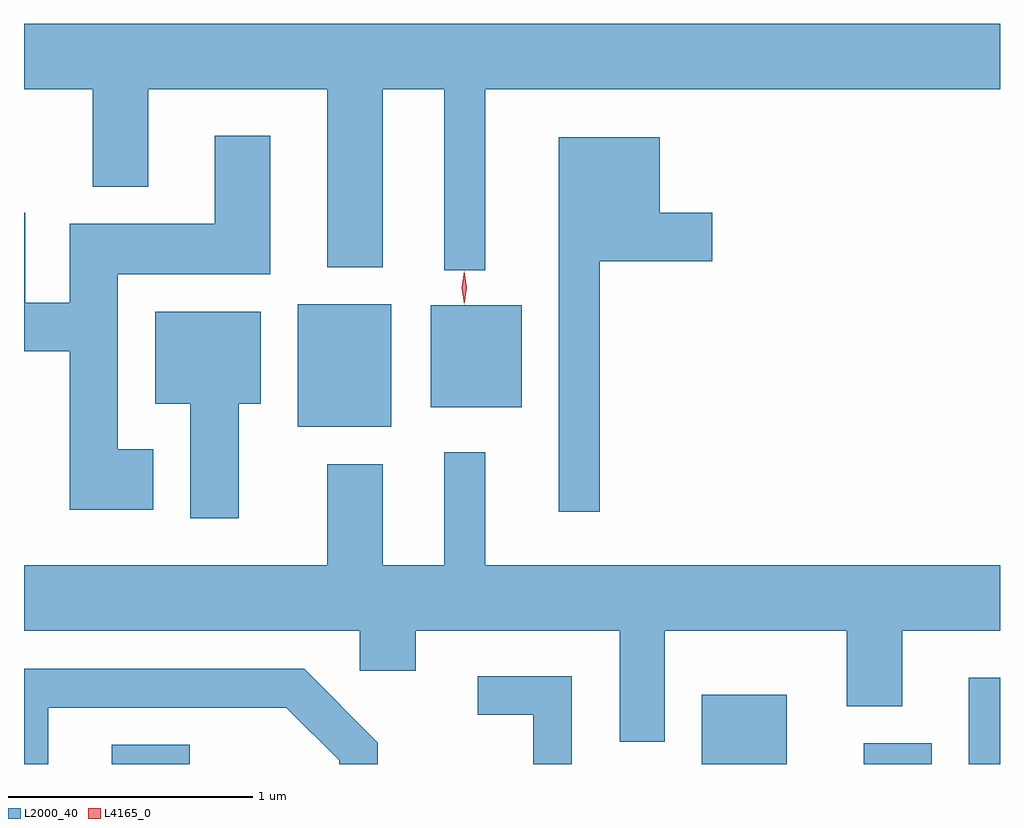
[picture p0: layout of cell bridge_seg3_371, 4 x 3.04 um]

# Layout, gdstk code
import gdstk
lib = gdstk.Library(unit=1e-6, precision=1e-09)
def R(c, l, rs):  # rectangles x0, y0, x1, y1
    for r in rs: c.add(gdstk.rectangle(r[:2], r[2:], *l))
def P(c, l, *ps):  # polygons
    for p in ps: c.add(gdstk.Polygon(p, *l))
L2000_40 = (2000, 40)
L4165_0 = (4165, 0)

bridge_seg3_371 = lib.new_cell('bridge_seg3_371')
R(bridge_seg3_371, L2000_40, [(581.398,1200.948,581.719,1201.029), (583.816,1200.948,584.164,1201.234), (584.481,1200.948,584.759,1201.034), (584.911,1200.948,585.039,1201.303), (582.161,1202.331,582.544,1202.834), (582.706,1202.411,583.079,1202.829)])
P(bridge_seg3_371, L2000_40, [(582.929,1203.716),(585.039,1203.716),(585.039,1203.984),(581.039,1203.984),(581.039,1203.716),(581.321,1203.716),(581.321,1203.316),(581.549,1203.316),(581.549,1203.716),(582.281,1203.716),(582.281,1202.986),(582.509,1202.986),(582.509,1203.716),(582.761,1203.716),(582.761,1202.973),(582.929,1202.973)],
  [(581.569,1202.239),(581.424,1202.239),(581.424,1202.956),(582.049,1202.956),(582.049,1203.524),(581.821,1203.524),(581.821,1203.164),(581.226,1203.164),(581.226,1202.839),(581.044,1202.839),(581.044,1203.209),(581.039,1203.209),(581.039,1202.641),(581.226,1202.641),(581.226,1201.991),(581.569,1201.991)],
  [(583.399,1203.011),(583.859,1203.011),(583.859,1203.209),(583.644,1203.209),(583.644,1203.519),(583.231,1203.519),(583.231,1201.983),(583.399,1201.983)],
  [(581.919,1202.426),(582.009,1202.426),(582.009,1202.804),(581.576,1202.804),(581.576,1202.426),(581.721,1202.426),(581.721,1201.956),(581.919,1201.956)],
  [(583.664,1201.496),(584.411,1201.496),(584.411,1201.186),(584.639,1201.186),(584.639,1201.496),(585.039,1201.496),(585.039,1201.764),(582.929,1201.764),(582.929,1202.228),(582.761,1202.228),(582.761,1201.764),(582.509,1201.764),(582.509,1202.179),(582.281,1202.179),(582.281,1201.764),(581.039,1201.764),(581.039,1201.496),(582.416,1201.496),(582.416,1201.331),(582.644,1201.331),(582.644,1201.496),(583.481,1201.496),(583.481,1201.041),(583.664,1201.041)],
  [(581.139,1201.181),(582.114,1201.181),(582.331,1200.964),(582.331,1200.948),(582.489,1200.948),(582.489,1201.037),(582.187,1201.339),(581.039,1201.339),(581.039,1200.948),(581.139,1200.948)],
  [(583.284,1201.309),(582.898,1201.309),(582.898,1201.151),(583.126,1201.151),(583.126,1200.948),(583.284,1200.948)])
P(bridge_seg3_371, L4165_0, [(582.843,1202.838),(582.833,1202.902),(582.843,1202.966),(582.844,1202.967),(582.844,1202.966),(582.854,1202.902),(582.844,1202.838),(582.844,1202.838)],
  [(582.843,1202.834),(582.843,1202.834),(582.833,1202.902),(582.843,1202.97),(582.843,1202.97),(582.844,1202.97),(582.853,1202.902),(582.844,1202.834)])

lib.write_gds('bridge_seg3_371.gds')
